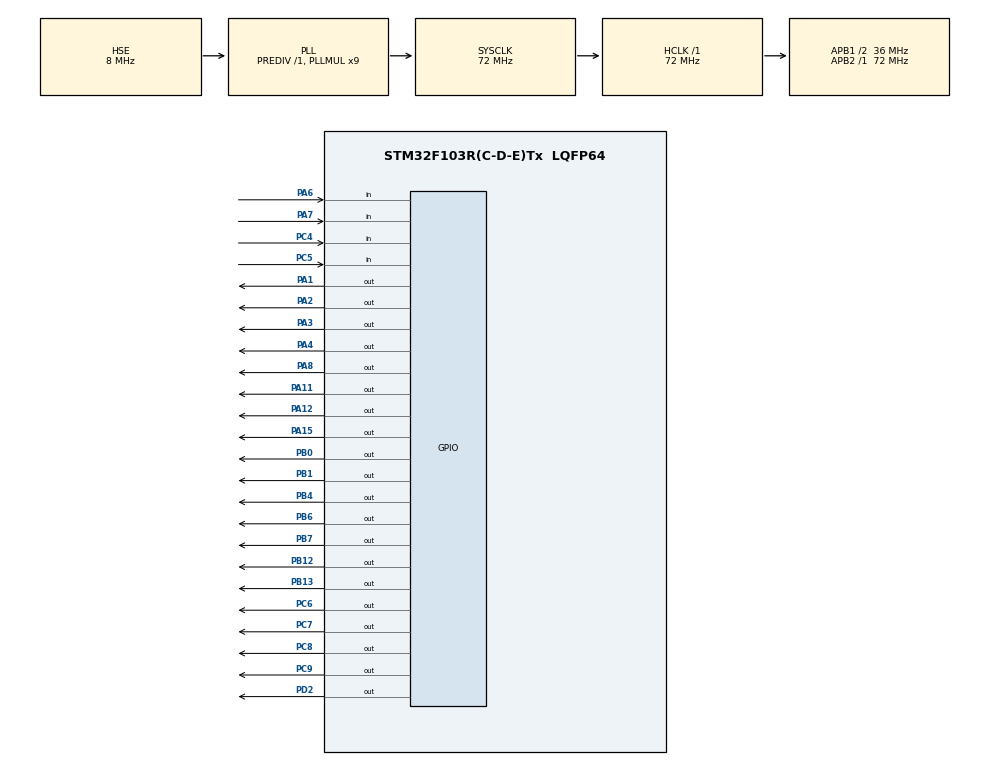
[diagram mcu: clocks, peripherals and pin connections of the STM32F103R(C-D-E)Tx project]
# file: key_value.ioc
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Mcu.Family=STM32F1
Mcu.Name=STM32F103R(C-D-E)Tx
Mcu.Package=LQFP64
NVIC.PriorityGroup=NVIC_PRIORITYGROUP_4
PA1.Signal=GPIO_Output
PA11.Signal=GPIO_Output
PA12.Signal=GPIO_Output
PA15.Signal=GPIO_Output
PA2.Signal=GPIO_Output
PA3.Signal=GPIO_Output
PA4.Signal=GPIO_Output
PA6.Signal=GPIO_Input
PA7.Signal=GPIO_Input
PA8.Signal=GPIO_Output
PB0.Signal=GPIO_Output
PB1.Signal=GPIO_Output
PB12.Signal=GPIO_Output
PB13.Signal=GPIO_Output
PB4.Signal=GPIO_Output
PB6.Signal=GPIO_Output
PB7.Signal=GPIO_Output
PC4.Signal=GPIO_Input
PC5.Signal=GPIO_Input
PC6.Signal=GPIO_Output
PC7.Signal=GPIO_Output
PC8.Signal=GPIO_Output
PC9.Signal=GPIO_Output
PD0-OSC_IN.Mode=HSE-External-Oscillator
PD0-OSC_IN.Signal=RCC_OSC_IN
PD1-OSC_OUT.Mode=HSE-External-Oscillator
PD1-OSC_OUT.Signal=RCC_OSC_OUT
PD2.Signal=GPIO_Output
ProjectManager.HeapSize=0x200
ProjectManager.StackSize=0x400
ProjectManager.TargetToolchain=MDK-ARM V5
RCC.AHBFreq_Value=72000000
RCC.APB1CLKDivider=RCC_HCLK_DIV2
RCC.APB1Freq_Value=36000000
RCC.APB1TimFreq_Value=72000000
RCC.APB2Freq_Value=72000000
RCC.APB2TimFreq_Value=72000000
RCC.HCLKFreq_Value=72000000
RCC.PLLMUL=RCC_PLL_MUL9
RCC.PLLSourceVirtual=RCC_PLLSOURCE_HSE
RCC.SYSCLKFreq_VALUE=72000000
RCC.SYSCLKSource=RCC_SYSCLKSOURCE_PLLCLK
RCC.USBFreq_Value=72000000
VP_SYS_VS_ND.Mode=No_Debug
board=custom

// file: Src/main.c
/* USER CODE BEGIN Header */
/**
  ******************************************************************************
  * @file           : main.c
  * @brief          : Main program body
  ******************************************************************************
  ** This notice applies to any and all portions of this file
  * that are not between comment pairs USER CODE BEGIN and
  * USER CODE END. Other portions of this file, whether
  * inserted by the user or by software development tools
  * are owned by their respective copyright owners.
  *
  * COPYRIGHT(c) 2019 STMicroelectronics
  *
  * Redistribution and use in source and binary forms, with or without modification,
  * are permitted provided that the following conditions are met:
  *   1. Redistributions of source code must retain the above copyright notice,
  *      this list of conditions and the following disclaimer.
  *   2. Redistributions in binary form must reproduce the above copyright notice,
  *      this list of conditions and the following disclaimer in the documentation
  *      and/or other materials provided with the distribution.
  *   3. Neither the name of STMicroelectronics nor the names of its contributors
  *      may be used to endorse or promote products derived from this software
  *      without specific prior written permission.
  *
  * THIS SOFTWARE IS PROVIDED BY THE COPYRIGHT HOLDERS AND CONTRIBUTORS "AS IS"
  * AND ANY EXPRESS OR IMPLIED WARRANTIES, INCLUDING, BUT NOT LIMITED TO, THE
  * IMPLIED WARRANTIES OF MERCHANTABILITY AND FITNESS FOR A PARTICULAR PURPOSE ARE
  * DISCLAIMED. IN NO EVENT SHALL THE COPYRIGHT HOLDER OR CONTRIBUTORS BE LIABLE
  * FOR ANY DIRECT, INDIRECT, INCIDENTAL, SPECIAL, EXEMPLARY, OR CONSEQUENTIAL
  * DAMAGES (INCLUDING, BUT NOT LIMITED TO, PROCUREMENT OF SUBSTITUTE GOODS OR
  * SERVICES; LOSS OF USE, DATA, OR PROFITS; OR BUSINESS INTERRUPTION) HOWEVER
  * CAUSED AND ON ANY THEORY OF LIABILITY, WHETHER IN CONTRACT, STRICT LIABILITY,
  * OR TORT (INCLUDING NEGLIGENCE OR OTHERWISE) ARISING IN ANY WAY OUT OF THE USE
  * OF THIS SOFTWARE, EVEN IF ADVISED OF THE POSSIBILITY OF SUCH DAMAGE.
  *
  ******************************************************************************
  */
/* USER CODE END Header */

#include "main.h"

/* USER CODE BEGIN PV */
struct GPIO_PACK{
		GPIO_TypeDef * port;
		uint16_t pin;
	};
	struct GPIO_PACK segs[8]= {
	{GPIOA,GPIO_PIN_15},
	{GPIOA,GPIO_PIN_11},
	{GPIOC,GPIO_PIN_9},
	{GPIOC,GPIO_PIN_7},
	{GPIOC,GPIO_PIN_8},
	{GPIOA,GPIO_PIN_12},
	{GPIOA,GPIO_PIN_8},
	{GPIOC,GPIO_PIN_6},
	}	;
	struct GPIO_PACK bits[4]={
	{GPIOD,GPIO_PIN_2},
	{GPIOB,GPIO_PIN_4},
	{GPIOB,GPIO_PIN_6},
	{GPIOB,GPIO_PIN_7},

	};
uint8_t shuzu[]={
	0xc0,0xf9,0xa4,0xb0,0x99,0x92,0x82,
	0xf8,0x80,0x90,0x88,0x83,0xc6,0xa1,0x86,0x8e
};
void DisplayOnebit(uint8_t digtal,uint8_t bit){
		uint8_t i;
		for(i=0;i<8;i++){
			HAL_GPIO_WritePin(segs[i].port,segs[i].pin,(GPIO_PinState)(shuzu[digtal]&(0x01<<i)));
		}
		for(i=0;i<4;i++){
			HAL_GPIO_WritePin(bits[i].port,bits[i].pin,(GPIO_PinState)(i!=bit));
		}
}

void DisplayDigtal(uint16_t digtal){
	int a=0;
	while(a<10)
	{
	a++;
	DisplayOnebit(digtal%10,0);
	HAL_Delay(5);
	if (digtal>=10){
	DisplayOnebit(digtal/10%10,1);
	HAL_Delay(5);
	if (digtal>=100){
	DisplayOnebit(digtal/100%10,2);
	HAL_Delay(5);
	if (digtal>=1000){
	DisplayOnebit(digtal/1000%10,3);
	HAL_Delay(5);

				}
			}
		}
	}
}
//0到9  要在数码管显示 十六进制值
// 扫描按键使用到的gpio口 弄到结构数组里面去
struct GPIO_PACK lie[4]={
   {GPIOB,GPIO_PIN_0},
   {GPIOB,GPIO_PIN_1},
   {GPIOB,GPIO_PIN_13},
   {GPIOB,GPIO_PIN_12}
};
struct GPIO_PACK hang[4]={
   {GPIOA,GPIO_PIN_6},
   {GPIOA,GPIO_PIN_7},
   {GPIOC,GPIO_PIN_4},
   {GPIOC,GPIO_PIN_5}
};
/* USER CODE END PV */

void SystemClock_Config(void);
static void MX_GPIO_Init(void);
/* USER CODE BEGIN PFP */
void Displaykeying()
	{
		uint8_t i,j,s,key=0;uint8_t k=1;
		for(i=0;i<4;i++)
	{	 HAL_GPIO_WritePin(lie[i].port,lie[i].pin,GPIO_PIN_RESET);
		for(s=0;s<4;s++){
		if(i!=s)
			HAL_GPIO_WritePin(lie[s].port,lie[s].pin,GPIO_PIN_SET);}
		for(j=0;j<4;j++)
	{	k=HAL_GPIO_ReadPin(hang[j].port,hang[j].pin);
		if(k==0)
			HAL_Delay(5);
			if(k==0)
			switch(j)
			{
				case 0:key=j+1+i;break;
				case 1:key=j+4+i;break;
				case 2:key=j+7+i;break;
				case 3:key=j+10+i;break;
			}
		}
	}
	//if(key!=0)
		DisplayDigtal(key);
	}
int displya_data=0;
/* USER CODE END PFP */

int main(void)
{

  /* MCU Configuration--------------------------------------------------------*/

  /* Reset of all peripherals, Initializes the Flash interface and the Systick. */
  HAL_Init();

  /* Configure the system clock */
  SystemClock_Config();

  /* Initialize all configured peripherals */
  MX_GPIO_Init();

  /* Infinite loop */
  while (1)
  {

    /* USER CODE BEGIN 3 */
		Displaykeying();
		/*DisplayDigtal(displya_data++);
		if(displya_data>9999)
			displya_data=0;
		*/

  }
  /* USER CODE END 3 */
}

void SystemClock_Config(void)
{
  RCC_OscInitTypeDef RCC_OscInitStruct = {0};
  RCC_ClkInitTypeDef RCC_ClkInitStruct = {0};

  /**Initializes the CPU, AHB and APB busses clocks
  */
  RCC_OscInitStruct.OscillatorType = RCC_OSCILLATORTYPE_HSE;
  RCC_OscInitStruct.HSEState = RCC_HSE_ON;
  RCC_OscInitStruct.HSEPredivValue = RCC_HSE_PREDIV_DIV1;
  RCC_OscInitStruct.HSIState = RCC_HSI_ON;
  RCC_OscInitStruct.PLL.PLLState = RCC_PLL_ON;
  RCC_OscInitStruct.PLL.PLLSource = RCC_PLLSOURCE_HSE;
  RCC_OscInitStruct.PLL.PLLMUL = RCC_PLL_MUL9;
  if (HAL_RCC_OscConfig(&RCC_OscInitStruct) != HAL_OK)
  {
    Error_Handler();
  }
  /**Initializes the CPU, AHB and APB busses clocks
  */
  RCC_ClkInitStruct.ClockType = RCC_CLOCKTYPE_HCLK|RCC_CLOCKTYPE_SYSCLK
                              |RCC_CLOCKTYPE_PCLK1|RCC_CLOCKTYPE_PCLK2;
  RCC_ClkInitStruct.SYSCLKSource = RCC_SYSCLKSOURCE_PLLCLK;
  RCC_ClkInitStruct.AHBCLKDivider = RCC_SYSCLK_DIV1;
  RCC_ClkInitStruct.APB1CLKDivider = RCC_HCLK_DIV2;
  RCC_ClkInitStruct.APB2CLKDivider = RCC_HCLK_DIV1;

  if (HAL_RCC_ClockConfig(&RCC_ClkInitStruct, FLASH_LATENCY_2) != HAL_OK)
  {
    Error_Handler();
  }
}

static void MX_GPIO_Init(void)
{
  GPIO_InitTypeDef GPIO_InitStruct = {0};

  /* GPIO Ports Clock Enable */
  __HAL_RCC_GPIOD_CLK_ENABLE();
  __HAL_RCC_GPIOA_CLK_ENABLE();
  __HAL_RCC_GPIOC_CLK_ENABLE();
  __HAL_RCC_GPIOB_CLK_ENABLE();

  /*Configure GPIO pin Output Level */
  HAL_GPIO_WritePin(GPIOA, GPIO_PIN_1|GPIO_PIN_2|GPIO_PIN_3|GPIO_PIN_4
                          |GPIO_PIN_8|GPIO_PIN_11|GPIO_PIN_12|GPIO_PIN_15, GPIO_PIN_RESET);

  /*Configure GPIO pin Output Level */
  HAL_GPIO_WritePin(GPIOB, GPIO_PIN_0|GPIO_PIN_1|GPIO_PIN_12|GPIO_PIN_13
                          |GPIO_PIN_4|GPIO_PIN_6|GPIO_PIN_7, GPIO_PIN_RESET);

  /*Configure GPIO pin Output Level */
  HAL_GPIO_WritePin(GPIOC, GPIO_PIN_6|GPIO_PIN_7|GPIO_PIN_8|GPIO_PIN_9, GPIO_PIN_RESET);

  /*Configure GPIO pin Output Level */
  HAL_GPIO_WritePin(GPIOD, GPIO_PIN_2, GPIO_PIN_RESET);

  /*Configure GPIO pins : PA1 PA2 PA3 PA4
                           PA8 PA11 PA12 PA15 */
  GPIO_InitStruct.Pin = GPIO_PIN_1|GPIO_PIN_2|GPIO_PIN_3|GPIO_PIN_4
                          |GPIO_PIN_8|GPIO_PIN_11|GPIO_PIN_12|GPIO_PIN_15;
  GPIO_InitStruct.Mode = GPIO_MODE_OUTPUT_PP;
  GPIO_InitStruct.Pull = GPIO_NOPULL;
  GPIO_InitStruct.Speed = GPIO_SPEED_FREQ_LOW;
  HAL_GPIO_Init(GPIOA, &GPIO_InitStruct);

  /*Configure GPIO pins : PA6 PA7 */
  GPIO_InitStruct.Pin = GPIO_PIN_6|GPIO_PIN_7;
  GPIO_InitStruct.Mode = GPIO_MODE_INPUT;
  GPIO_InitStruct.Pull = GPIO_NOPULL;
  HAL_GPIO_Init(GPIOA, &GPIO_InitStruct);

  /*Configure GPIO pins : PC4 PC5 */
  GPIO_InitStruct.Pin = GPIO_PIN_4|GPIO_PIN_5;
  GPIO_InitStruct.Mode = GPIO_MODE_INPUT;
  GPIO_InitStruct.Pull = GPIO_NOPULL;
  HAL_GPIO_Init(GPIOC, &GPIO_InitStruct);

  /*Configure GPIO pins : PB0 PB1 PB12 PB13
                           PB4 PB6 PB7 */
  GPIO_InitStruct.Pin = GPIO_PIN_0|GPIO_PIN_1|GPIO_PIN_12|GPIO_PIN_13
                          |GPIO_PIN_4|GPIO_PIN_6|GPIO_PIN_7;
  GPIO_InitStruct.Mode = GPIO_MODE_OUTPUT_PP;
  GPIO_InitStruct.Pull = GPIO_NOPULL;
  GPIO_InitStruct.Speed = GPIO_SPEED_FREQ_LOW;
  HAL_GPIO_Init(GPIOB, &GPIO_InitStruct);

  /*Configure GPIO pins : PC6 PC7 PC8 PC9 */
  GPIO_InitStruct.Pin = GPIO_PIN_6|GPIO_PIN_7|GPIO_PIN_8|GPIO_PIN_9;
  GPIO_InitStruct.Mode = GPIO_MODE_OUTPUT_PP;
  GPIO_InitStruct.Pull = GPIO_NOPULL;
  GPIO_InitStruct.Speed = GPIO_SPEED_FREQ_LOW;
  HAL_GPIO_Init(GPIOC, &GPIO_InitStruct);

  /*Configure GPIO pin : PD2 */
  GPIO_InitStruct.Pin = GPIO_PIN_2;
  GPIO_InitStruct.Mode = GPIO_MODE_OUTPUT_PP;
  GPIO_InitStruct.Pull = GPIO_NOPULL;
  GPIO_InitStruct.Speed = GPIO_SPEED_FREQ_LOW;
  HAL_GPIO_Init(GPIOD, &GPIO_InitStruct);

}

void Error_Handler(void)
{
}

/************************ (C) COPYRIGHT STMicroelectronics *****END OF FILE****/
